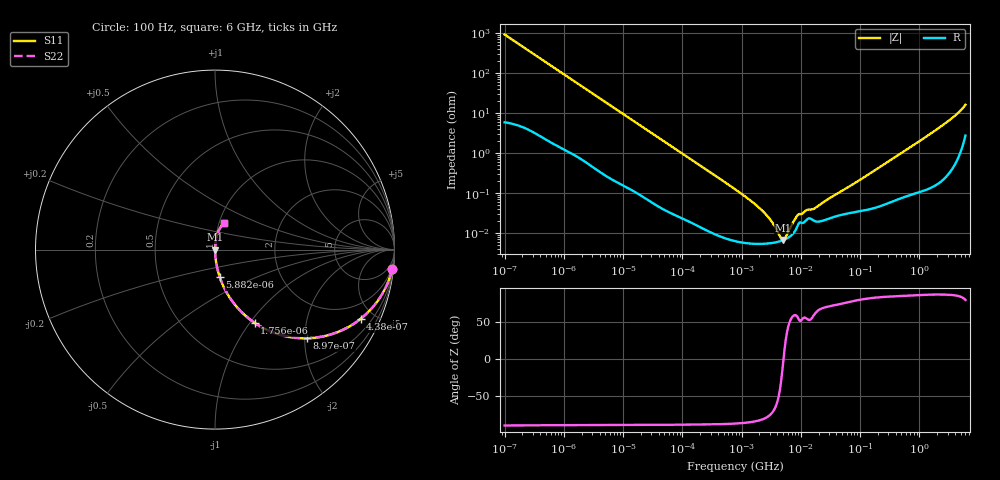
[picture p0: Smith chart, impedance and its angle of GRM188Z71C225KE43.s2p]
!Murata Part Number: GRM188Z71C225KE43
!These Parameters are Measured in Series Mode Connection
!Data Generated on Mar 30, 2021
!  o--ll--o
!Port1  Port2
!  o------o
!Operation Temp=25[degC], DC Bias Voltage=0[V]
!Freq. Start=100[Hz] Stop=6[GHz] 401[Steps]
# Hz S RI R 50
!Freq.(Hz) S11(Real) S11(Imag) S21(Real) S21(Imag) S12(Real) S12(Imag) S22(Real) S22(Imag)
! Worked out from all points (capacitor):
!   401 points, 100 Hz to 6 GHz, reference 50 ohm
!   read as one part in series: C = 1.75 uF near 109 Hz
!   lowest |Z| = 6.73 mohm at 5.079 MHz (marker M1)
!   series resonance near 5.1 MHz, so ESL is about 560 pH
!   S11 on the Smith chart (normalised r, x): 100 Hz: 1, -18; 438 Hz: 1.05, -4.18; 897 Hz: 1.03, -2.05; 1.756 kHz: 1.02, -1.06; 5.882 kHz: 1.00, -0.32; 6 GHz: 1.05, +0.31
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100  0.9873 -0.1088  0.0127 0.1088  0.0127 0.1088  0.9873 -0.1088
245  0.9304 -0.2492  0.0696 0.2492  0.0696 0.2492  0.9304 -0.2492
438  0.8109 -0.3859  0.1891 0.3859  0.1891 0.3859  0.8109 -0.3859
897  0.5128 -0.4934  0.4872 0.4934  0.4872 0.4934  0.5128 -0.4934
1756  0.2212 -0.4078  0.7788 0.4078  0.7788 0.4078  0.2212 -0.4078
2008  0.1796 -0.3765  0.8204 0.3765  0.8204 0.3765  0.1796 -0.3765
3287  0.0778 -0.2606  0.9222 0.2606  0.9222 0.2606  0.0778 -0.2606
5882  0.0269 -0.1546  0.9731 0.1546  0.9731 0.1546  0.0269 -0.1546
13169  0.00634 -0.0712  0.9937 0.0712  0.9937 0.0712  0.00634 -0.0712
40335  0.00101 -0.0237  0.999 0.0237  0.999 0.0237  0.00101 -0.0237
774597  6.48e-05 -0.00125  0.9999 0.00125  0.9999 0.00125  6.48e-05 -0.00125
1983483  5.41e-05 -0.000427  0.9999 0.000427  0.9999 0.000427  5.41e-05 -0.000427
2967816  5.58e-05 -0.000223  0.9999 0.000223  0.9999 0.000223  5.58e-05 -0.000223
4060267  6.06e-05 -9.07e-05  0.9999 9.07e-05  0.9999 9.07e-05  6.06e-05 -9.07e-05
5079039  6.73e-05 -1.6e-06  0.9999 1.6e-06  0.9999 1.6e-06  6.73e-05 -1.6e-06
6075234  7.65e-05 7.1e-05  0.9999 -7.1e-05  0.9999 -7.1e-05  7.65e-05 7.1e-05
9090158  0.000168 0.000241  0.9998 -0.000241  0.9998 -0.000241  0.000168 0.000241
1.300572e7  0.000226 0.000312  0.9998 -0.000312  0.9998 -0.000312  0.000226 0.000312
1.555665e7  0.000217 0.000326  0.9998 -0.000326  0.9998 -0.000326  0.000217 0.000326
3.124326e8  0.000613 0.00634  0.9994 -0.00634  0.9994 -0.00634  0.000613 0.00634
2.450438e9  0.00442 0.0485  0.9956 -0.0485  0.9956 -0.0485  0.00442 0.0485
6e9  0.0488 0.1458  0.9512 -0.1458  0.9512 -0.1458  0.0488 0.1458
